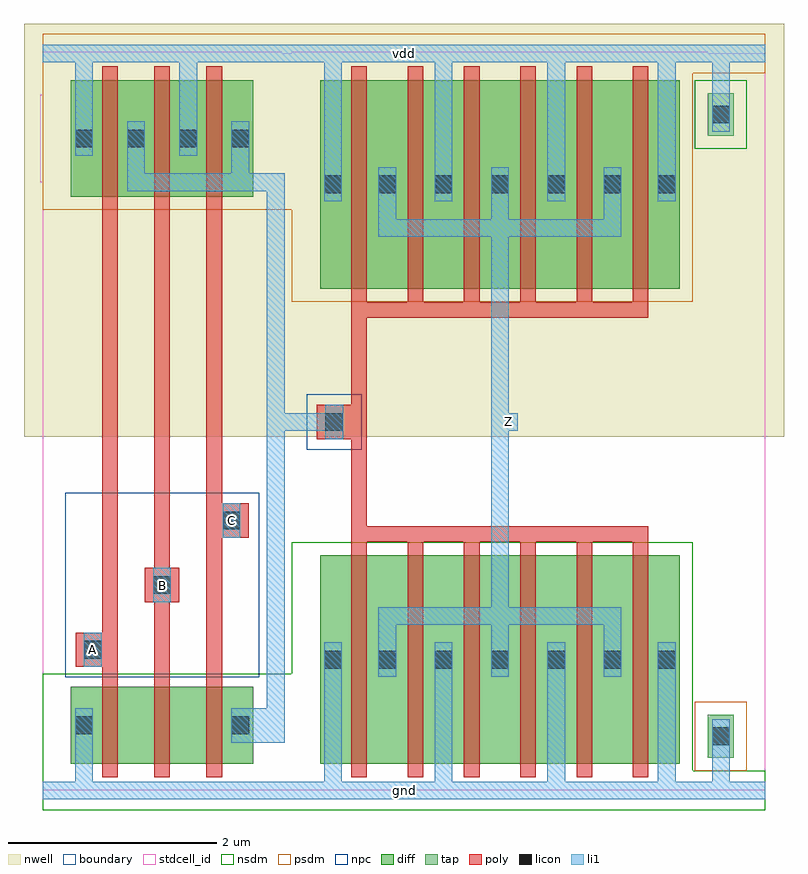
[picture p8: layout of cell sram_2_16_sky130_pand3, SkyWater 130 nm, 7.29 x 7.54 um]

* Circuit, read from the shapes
.subckt sram_2_16_sky130_pand3 A B C Z gnd vdd
XM1 sram_2_16_sky130_pnand3_0/sram_2_16_sky130_nmos_m1_w0_740_sli_dactive_3/D A gnd gnd sky130_fd_pr__nfet_01v8 w=0.74 l=0.15
XM2 sram_2_16_sky130_pnand3_0/sram_2_16_sky130_nmos_m1_w0_740_sactive_dactive_4/D B sram_2_16_sky130_pnand3_0/sram_2_16_sky130_nmos_m1_w0_740_sli_dactive_3/D gnd sky130_fd_pr__nfet_01v8 w=0.74 l=0.15
XM3 sram_2_16_sky130_pdriver_2_1/A C sram_2_16_sky130_pnand3_0/sram_2_16_sky130_nmos_m1_w0_740_sactive_dactive_4/D gnd sky130_fd_pr__nfet_01v8 w=0.74 l=0.15
XM4 Z sram_2_16_sky130_pdriver_2_1/A gnd gnd sky130_fd_pr__nfet_01v8 w=2 l=0.15 m=6
XM5 sram_2_16_sky130_pdriver_2_1/A A vdd vdd sky130_fd_pr__pfet_01v8 w=1.12 l=0.15
XM6 vdd B sram_2_16_sky130_pdriver_2_1/A vdd sky130_fd_pr__pfet_01v8 w=1.12 l=0.15
XM7 sram_2_16_sky130_pdriver_2_1/A C vdd vdd sky130_fd_pr__pfet_01v8 w=1.12 l=0.15
XM8 Z sram_2_16_sky130_pdriver_2_1/A vdd vdd sky130_fd_pr__pfet_01v8 w=2 l=0.15 m=6
.ends

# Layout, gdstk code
import gdstk
lib = gdstk.Library(unit=1e-6, precision=1e-09)
def R(c, l, rs):  # rectangles x0, y0, x1, y1
    for r in rs: c.add(gdstk.rectangle(r[:2], r[2:], *l))
def A(c, l, x, y, w, h, nx, ny, dx, dy):  # array of equal rectangles
    R(c, l, [(x+i*dx, y+j*dy, x+i*dx+w, y+j*dy+h) for i in range(nx) for j in range(ny)])
nwell = (64, 20)
diff = (65, 20)
tap = (65, 44)
poly = (66, 20)
licon = (66, 44)
li1 = (67, 20)
stdcell_id = (81, 4)
nsdm = (93, 44)
psdm = (94, 20)
npc = (95, 20)
boundary = (235, 4)

sram_2_16_sky130_contact = lib.new_cell('sram_2_16_sky130_contact_11')
R(sram_2_16_sky130_contact, nwell, [(-0.295,-0.255,0.545,0.585)])
R(sram_2_16_sky130_contact, diff, [(0,0.02,0.25,0.31)])
R(sram_2_16_sky130_contact, licon, [(0.04,0.08,0.21,0.25)])
R(sram_2_16_sky130_contact, li1, [(0.04,0,0.21,0.33)])
R(sram_2_16_sky130_contact, stdcell_id, [(-0.295,-0.255,0.545,0.585)])
R(sram_2_16_sky130_contact, psdm, [(-0.125,-0.105,0.375,0.435)])
R(sram_2_16_sky130_contact, boundary, [(-0.295,-0.255,0.545,0.585)])

sram_2_16_sky130_pmos_m1 = lib.new_cell('sram_2_16_sky130_pmos_m1_w1_120_sli_dli')
R(sram_2_16_sky130_pmos_m1, nwell, [(-0.27,-0.27,1.02,1.39)])
R(sram_2_16_sky130_pmos_m1, diff, [(0,0,0.75,1.12)])
R(sram_2_16_sky130_pmos_m1, poly, [(0.3,-0.13,0.45,1.25), (0.3,-0.13,0.45,1.25)])
R(sram_2_16_sky130_pmos_m1, li1, [(0.04,0.395,0.21,0.725), (0.54,0.395,0.71,0.725)])
R(sram_2_16_sky130_pmos_m1, stdcell_id, [(-0.27,-0.27,1.02,1.39)])
R(sram_2_16_sky130_pmos_m1, psdm, [(-0.125,-0.125,0.875,1.245)])
R(sram_2_16_sky130_pmos_m1, boundary, [(-0.27,-0.27,1.02,1.39)])
sram_2_16_sky130_pmos_m1.add(gdstk.Reference(sram_2_16_sky130_contact, (0,0.395)))
sram_2_16_sky130_pmos_m1.add(gdstk.Reference(sram_2_16_sky130_contact, (0.5,0.395)))
sram_2_16_sky130_pmos_m1.add(gdstk.Label('G', (0.375,0.56), layer=66, texttype=5))
sram_2_16_sky130_pmos_m1.add(gdstk.Label('S', (0.125,0.56), layer=67, texttype=5))
sram_2_16_sky130_pmos_m1.add(gdstk.Label('D', (0.625,0.56), layer=67, texttype=5))

c_sram_2_16_sky130_contact = lib.new_cell('sram_2_16_sky130_contact_10')
R(c_sram_2_16_sky130_contact, diff, [(0,0.02,0.25,0.31)])
R(c_sram_2_16_sky130_contact, licon, [(0.04,0.08,0.21,0.25)])
R(c_sram_2_16_sky130_contact, li1, [(0.04,0,0.21,0.33)])
R(c_sram_2_16_sky130_contact, stdcell_id, [(-0.125,-0.105,0.375,0.435)])
R(c_sram_2_16_sky130_contact, nsdm, [(-0.125,-0.105,0.375,0.435)])
R(c_sram_2_16_sky130_contact, boundary, [(-0.125,-0.105,0.375,0.435)])

sram_2_16_sky130_nmos_m1 = lib.new_cell('sram_2_16_sky130_nmos_m1_w0_740_sli_dactive')
R(sram_2_16_sky130_nmos_m1, diff, [(0,0,0.75,0.74), (0.55,0.295,0.7,0.445)])
R(sram_2_16_sky130_nmos_m1, poly, [(0.3,-0.13,0.45,0.87), (0.3,-0.13,0.45,0.87)])
R(sram_2_16_sky130_nmos_m1, li1, [(0.04,0.205,0.21,0.535)])
R(sram_2_16_sky130_nmos_m1, stdcell_id, [(-0.125,-0.13,0.875,0.87)])
R(sram_2_16_sky130_nmos_m1, nsdm, [(-0.125,-0.125,0.875,0.865)])
R(sram_2_16_sky130_nmos_m1, boundary, [(-0.125,-0.13,0.875,0.87)])
sram_2_16_sky130_nmos_m1.add(gdstk.Reference(c_sram_2_16_sky130_contact, (0,0.205)))
sram_2_16_sky130_nmos_m1.add(gdstk.Label('G', (0.375,0.37), layer=66, texttype=5))
sram_2_16_sky130_nmos_m1.add(gdstk.Label('S', (0.125,0.37), layer=67, texttype=5))
sram_2_16_sky130_nmos_m1.add(gdstk.Label('D', (0.625,0.37), layer=65, texttype=5))

c_sram_2_16_sky130_nmos_m1 = lib.new_cell('sram_2_16_sky130_nmos_m1_w0_740_sactive_dactive')
R(c_sram_2_16_sky130_nmos_m1, diff, [(0,0,0.75,0.74), (0.05,0.295,0.2,0.445), (0.55,0.295,0.7,0.445)])
R(c_sram_2_16_sky130_nmos_m1, poly, [(0.3,-0.13,0.45,0.87), (0.3,-0.13,0.45,0.87)])
R(c_sram_2_16_sky130_nmos_m1, stdcell_id, [(-0.125,-0.13,0.875,0.87)])
R(c_sram_2_16_sky130_nmos_m1, nsdm, [(-0.125,-0.125,0.875,0.865)])
R(c_sram_2_16_sky130_nmos_m1, boundary, [(-0.125,-0.13,0.875,0.87)])
c_sram_2_16_sky130_nmos_m1.add(gdstk.Label('G', (0.375,0.37), layer=66, texttype=5))
c_sram_2_16_sky130_nmos_m1.add(gdstk.Label('S', (0.125,0.37), layer=65, texttype=5))
c_sram_2_16_sky130_nmos_m1.add(gdstk.Label('D', (0.625,0.37), layer=65, texttype=5))

c_sram_2_16_sky130_nmos_m1_ = lib.new_cell('sram_2_16_sky130_nmos_m1_w0_740_sactive_dli')
R(c_sram_2_16_sky130_nmos_m1_, diff, [(0,0,0.75,0.74), (0.05,0.295,0.2,0.445)])
R(c_sram_2_16_sky130_nmos_m1_, poly, [(0.3,-0.13,0.45,0.87), (0.3,-0.13,0.45,0.87)])
R(c_sram_2_16_sky130_nmos_m1_, li1, [(0.54,0.205,0.71,0.535)])
R(c_sram_2_16_sky130_nmos_m1_, stdcell_id, [(-0.125,-0.13,0.875,0.87)])
R(c_sram_2_16_sky130_nmos_m1_, nsdm, [(-0.125,-0.125,0.875,0.865)])
R(c_sram_2_16_sky130_nmos_m1_, boundary, [(-0.125,-0.13,0.875,0.87)])
c_sram_2_16_sky130_nmos_m1_.add(gdstk.Reference(c_sram_2_16_sky130_contact, (0.5,0.205)))
c_sram_2_16_sky130_nmos_m1_.add(gdstk.Label('G', (0.375,0.37), layer=66, texttype=5))
c_sram_2_16_sky130_nmos_m1_.add(gdstk.Label('S', (0.125,0.37), layer=65, texttype=5))
c_sram_2_16_sky130_nmos_m1_.add(gdstk.Label('D', (0.625,0.37), layer=67, texttype=5))

c_sram_2_16_sky130_contact_ = lib.new_cell('sram_2_16_sky130_contact_15')
R(c_sram_2_16_sky130_contact_, poly, [(0,0,0.33,0.33)])
R(c_sram_2_16_sky130_contact_, licon, [(0.08,0.08,0.25,0.25)])
R(c_sram_2_16_sky130_contact_, li1, [(0.08,0,0.25,0.33)])
R(c_sram_2_16_sky130_contact_, stdcell_id, [(-0.1,-0.1,0.43,0.43)])
R(c_sram_2_16_sky130_contact_, npc, [(-0.1,-0.1,0.43,0.43)])
R(c_sram_2_16_sky130_contact_, boundary, [(-0.1,-0.1,0.43,0.43)])

sram_2_16_sky130_pnand3 = lib.new_cell('sram_2_16_sky130_pnand3')
R(sram_2_16_sky130_pnand3, nwell, [(-0.18,3.395,2.57,7.355)])
A(sram_2_16_sky130_pnand3, poly, 0.57, 1.125, 0.15, 4.44, 3, 1, 0.5, 0)
R(sram_2_16_sky130_pnand3, poly, [(0.48,1.185,0.57,1.515), (1.07,1.805,1.145,2.135), (1.57,2.425,1.81,2.755)])
R(sram_2_16_sky130_pnand3, li1, [(0,-0.085,2.39,0.085), (0.31,-0.085,0.48,0.46), (1.895,0.46,2.235,0.79), (2.15,0.46,2.32,5.835), (0.395,1.185,0.565,1.515), (1.06,1.805,1.23,2.135), (1.725,2.425,1.895,2.755), (0.81,5.75,0.98,5.92), (0.895,5.75,2.235,5.92), (1.81,5.75,1.98,5.92), (1.895,5.75,2.235,5.92), (2.15,5.75,2.32,5.92), (0.81,5.835,0.98,6.255), (1.81,5.835,1.98,6.255), (0.31,6.09,0.48,7.155), (1.31,6.09,1.48,7.155), (0,6.985,2.39,7.155)])
R(sram_2_16_sky130_pnand3, stdcell_id, [(0,0,2.39,7.07), (0,0,2.39,7.07)])
R(sram_2_16_sky130_pnand3, nsdm, [(0,-0.19,2.39,0.19), (0,0,2.39,1.12)])
R(sram_2_16_sky130_pnand3, psdm, [(0,5.57,2.39,7.07), (0,6.88,2.39,7.26)])
R(sram_2_16_sky130_pnand3, npc, [(0.215,1.085,2.075,2.855)])
R(sram_2_16_sky130_pnand3, boundary, [(0,0,2.39,7.07), (0,0,2.39,7.07)])
sram_2_16_sky130_pnand3.add(gdstk.Reference(sram_2_16_sky130_pmos_m1, (0.27,5.695)))
sram_2_16_sky130_pnand3.add(gdstk.Reference(sram_2_16_sky130_pmos_m1, (0.77,5.695)))
sram_2_16_sky130_pnand3.add(gdstk.Reference(sram_2_16_sky130_pmos_m1, (1.27,5.695)))
sram_2_16_sky130_pnand3.add(gdstk.Reference(sram_2_16_sky130_nmos_m1, (0.27,0.255)))
sram_2_16_sky130_pnand3.add(gdstk.Reference(c_sram_2_16_sky130_nmos_m1, (0.77,0.255)))
sram_2_16_sky130_pnand3.add(gdstk.Reference(c_sram_2_16_sky130_nmos_m1_, (1.27,0.255)))
sram_2_16_sky130_pnand3.add(gdstk.Reference(c_sram_2_16_sky130_contact_, (0.315,1.185)))
sram_2_16_sky130_pnand3.add(gdstk.Reference(c_sram_2_16_sky130_contact_, (0.98,1.805)))
sram_2_16_sky130_pnand3.add(gdstk.Reference(c_sram_2_16_sky130_contact_, (1.645,2.425)))
sram_2_16_sky130_pnand3.add(gdstk.Label('A', (0.48,1.35), layer=67, texttype=5))
sram_2_16_sky130_pnand3.add(gdstk.Label('B', (1.145,1.97), layer=67, texttype=5))
sram_2_16_sky130_pnand3.add(gdstk.Label('C', (1.81,2.59), layer=67, texttype=5))
sram_2_16_sky130_pnand3.add(gdstk.Label('Z', (2.235,5.835), layer=67, texttype=5))
sram_2_16_sky130_pnand3.add(gdstk.Label('gnd', (1.195,0), layer=67, texttype=5))
sram_2_16_sky130_pnand3.add(gdstk.Label('vdd', (1.195,7.07), layer=67, texttype=5))

sram_2_16_sky130_pmos_m6 = lib.new_cell('sram_2_16_sky130_pmos_m6_w2_000_sli_dli_da_p')
R(sram_2_16_sky130_pmos_m6, nwell, [(-0.27,-0.27,3.72,2.27)])
R(sram_2_16_sky130_pmos_m6, diff, [(0,0,3.45,2)])
A(sram_2_16_sky130_pmos_m6, poly, 0.3, -0.13, 0.15, 2.26, 6, 1, 0.54, 0)
R(sram_2_16_sky130_pmos_m6, poly, [(0.3,-0.28,3.15,-0.13)])
A(sram_2_16_sky130_pmos_m6, li1, 0.56, 0.58, 0.17, 0.42, 3, 1, 1.08, 0)
R(sram_2_16_sky130_pmos_m6, li1, [(0.56,0.495,2.89,0.665), (0.04,0.835,0.21,1.165), (1.1,0.835,1.27,1.165), (2.18,0.835,2.35,1.165), (3.24,0.835,3.41,1.165)])
R(sram_2_16_sky130_pmos_m6, stdcell_id, [(-0.27,-0.28,3.72,2.27)])
R(sram_2_16_sky130_pmos_m6, psdm, [(-0.125,-0.125,3.575,2.125)])
R(sram_2_16_sky130_pmos_m6, boundary, [(-0.27,-0.28,3.72,2.27)])
sram_2_16_sky130_pmos_m6.add(gdstk.Reference(sram_2_16_sky130_contact, (0,0.835)))
sram_2_16_sky130_pmos_m6.add(gdstk.Reference(sram_2_16_sky130_contact, (0.52,0.835)))
sram_2_16_sky130_pmos_m6.add(gdstk.Reference(sram_2_16_sky130_contact, (1.06,0.835)))
sram_2_16_sky130_pmos_m6.add(gdstk.Reference(sram_2_16_sky130_contact, (1.6,0.835)))
sram_2_16_sky130_pmos_m6.add(gdstk.Reference(sram_2_16_sky130_contact, (2.14,0.835)))
sram_2_16_sky130_pmos_m6.add(gdstk.Reference(sram_2_16_sky130_contact, (2.68,0.835)))
sram_2_16_sky130_pmos_m6.add(gdstk.Reference(sram_2_16_sky130_contact, (3.2,0.835)))
sram_2_16_sky130_pmos_m6.add(gdstk.Label('G', (1.725,-0.205), layer=66, texttype=5))
sram_2_16_sky130_pmos_m6.add(gdstk.Label('S', (0.125,1), layer=67, texttype=5))
sram_2_16_sky130_pmos_m6.add(gdstk.Label('S', (2.265,1), layer=67, texttype=5))
sram_2_16_sky130_pmos_m6.add(gdstk.Label('S', (3.325,1), layer=67, texttype=5))
sram_2_16_sky130_pmos_m6.add(gdstk.Label('S', (1.185,1), layer=67, texttype=5))
sram_2_16_sky130_pmos_m6.add(gdstk.Label('D', (1.725,0.58), layer=67, texttype=5))

sram_2_16_sky130_nmos_m6 = lib.new_cell('sram_2_16_sky130_nmos_m6_w2_000_sli_dli_da_p')
R(sram_2_16_sky130_nmos_m6, diff, [(0,0,3.45,2)])
A(sram_2_16_sky130_nmos_m6, poly, 0.3, -0.13, 0.15, 2.26, 6, 1, 0.54, 0)
R(sram_2_16_sky130_nmos_m6, poly, [(0.3,2.13,3.15,2.28)])
A(sram_2_16_sky130_nmos_m6, li1, 0.56, 1, 0.17, 0.42, 3, 1, 1.08, 0)
R(sram_2_16_sky130_nmos_m6, li1, [(0.04,0.835,0.21,1.165), (1.1,0.835,1.27,1.165), (2.18,0.835,2.35,1.165), (3.24,0.835,3.41,1.165), (0.56,1.335,2.89,1.505)])
R(sram_2_16_sky130_nmos_m6, stdcell_id, [(-0.125,-0.13,3.575,2.28)])
R(sram_2_16_sky130_nmos_m6, nsdm, [(-0.125,-0.125,3.575,2.125)])
R(sram_2_16_sky130_nmos_m6, boundary, [(-0.125,-0.13,3.575,2.28)])
sram_2_16_sky130_nmos_m6.add(gdstk.Reference(c_sram_2_16_sky130_contact, (0,0.835)))
sram_2_16_sky130_nmos_m6.add(gdstk.Reference(c_sram_2_16_sky130_contact, (0.52,0.835)))
sram_2_16_sky130_nmos_m6.add(gdstk.Reference(c_sram_2_16_sky130_contact, (1.06,0.835)))
sram_2_16_sky130_nmos_m6.add(gdstk.Reference(c_sram_2_16_sky130_contact, (1.6,0.835)))
sram_2_16_sky130_nmos_m6.add(gdstk.Reference(c_sram_2_16_sky130_contact, (2.14,0.835)))
sram_2_16_sky130_nmos_m6.add(gdstk.Reference(c_sram_2_16_sky130_contact, (2.68,0.835)))
sram_2_16_sky130_nmos_m6.add(gdstk.Reference(c_sram_2_16_sky130_contact, (3.2,0.835)))
sram_2_16_sky130_nmos_m6.add(gdstk.Label('G', (1.725,2.205), layer=66, texttype=5))
sram_2_16_sky130_nmos_m6.add(gdstk.Label('S', (0.125,1), layer=67, texttype=5))
sram_2_16_sky130_nmos_m6.add(gdstk.Label('S', (2.265,1), layer=67, texttype=5))
sram_2_16_sky130_nmos_m6.add(gdstk.Label('S', (3.325,1), layer=67, texttype=5))
sram_2_16_sky130_nmos_m6.add(gdstk.Label('S', (1.185,1), layer=67, texttype=5))
sram_2_16_sky130_nmos_m6.add(gdstk.Label('D', (1.725,1.42), layer=67, texttype=5))

c_sram_2_16_sky130_contact__ = lib.new_cell('sram_2_16_sky130_contact_22')
R(c_sram_2_16_sky130_contact__, nwell, [(-0.295,-0.215,0.545,0.625)])
R(c_sram_2_16_sky130_contact__, tap, [(0,0,0.25,0.41)])
R(c_sram_2_16_sky130_contact__, licon, [(0.04,0.12,0.21,0.29)])
R(c_sram_2_16_sky130_contact__, li1, [(0.04,0.04,0.21,0.37)])
R(c_sram_2_16_sky130_contact__, stdcell_id, [(-0.295,-0.215,0.545,0.625)])
R(c_sram_2_16_sky130_contact__, nsdm, [(-0.125,-0.125,0.375,0.535)])
R(c_sram_2_16_sky130_contact__, boundary, [(-0.295,-0.215,0.545,0.625)])

c_sram_2_16_sky130_contact___ = lib.new_cell('sram_2_16_sky130_contact_23')
R(c_sram_2_16_sky130_contact___, tap, [(0,0,0.25,0.41)])
R(c_sram_2_16_sky130_contact___, licon, [(0.04,0.12,0.21,0.29)])
R(c_sram_2_16_sky130_contact___, li1, [(0.04,0.04,0.21,0.37)])
R(c_sram_2_16_sky130_contact___, stdcell_id, [(-0.125,-0.125,0.375,0.535)])
R(c_sram_2_16_sky130_contact___, psdm, [(-0.125,-0.125,0.375,0.535)])
R(c_sram_2_16_sky130_contact___, boundary, [(-0.125,-0.125,0.375,0.535)])

sram_2_16_sky130_pinv_9 = lib.new_cell('sram_2_16_sky130_pinv_9')
R(sram_2_16_sky130_pinv_9, nwell, [(-0.18,3.395,4.72,7.355)])
R(sram_2_16_sky130_pinv_9, poly, [(0.57,2.535,0.72,4.535), (0.405,3.37,0.57,3.7)])
R(sram_2_16_sky130_pinv_9, li1, [(0,-0.085,4.54,0.085), (0.31,-0.085,0.48,1.09), (1.37,-0.085,1.54,1.09), (2.45,-0.085,2.62,1.09), (3.51,-0.085,3.68,1.09), (4.03,0,4.2,0.52), (1.91,1.59,2.08,5.48), (0.32,3.37,0.49,3.7), (1.995,3.45,2.165,3.62), (0.31,5.65,0.48,7.155), (1.37,5.65,1.54,7.155), (2.45,5.65,2.62,7.155), (3.51,5.65,3.68,7.155), (4.03,6.485,4.2,7.07), (0,6.985,4.54,7.155)])
R(sram_2_16_sky130_pinv_9, stdcell_id, [(0,0,4.54,7.07), (0,0,4.54,7.07)])
R(sram_2_16_sky130_pinv_9, nsdm, [(0,-0.19,4.54,0.19), (0,0,3.845,2.38)])
R(sram_2_16_sky130_pinv_9, psdm, [(0,4.69,3.845,7.07), (0,6.88,4.54,7.26)])
R(sram_2_16_sky130_pinv_9, boundary, [(0,0,4.54,7.07), (0,0,4.54,7.07)])
sram_2_16_sky130_pinv_9.add(gdstk.Reference(sram_2_16_sky130_pmos_m6, (0.27,4.815)))
sram_2_16_sky130_pinv_9.add(gdstk.Reference(sram_2_16_sky130_nmos_m6, (0.27,0.255)))
sram_2_16_sky130_pinv_9.add(gdstk.Reference(c_sram_2_16_sky130_contact__, (3.99,6.28)))
sram_2_16_sky130_pinv_9.add(gdstk.Reference(c_sram_2_16_sky130_contact___, (3.99,0.315)))
sram_2_16_sky130_pinv_9.add(gdstk.Reference(c_sram_2_16_sky130_contact_, (0.24,3.37)))
sram_2_16_sky130_pinv_9.add(gdstk.Label('A', (0.405,3.535), layer=67, texttype=5))
sram_2_16_sky130_pinv_9.add(gdstk.Label('Z', (2.08,3.535), layer=67, texttype=5))
sram_2_16_sky130_pinv_9.add(gdstk.Label('gnd', (2.27,0), layer=67, texttype=5))
sram_2_16_sky130_pinv_9.add(gdstk.Label('vdd', (2.27,7.07), layer=67, texttype=5))

sram_2_16_sky130_pdriver = lib.new_cell('sram_2_16_sky130_pdriver_2')
R(sram_2_16_sky130_pdriver, nwell, [(-0.18,3.395,4.72,7.355)])
R(sram_2_16_sky130_pdriver, li1, [(0,-0.085,4.54,0.085), (0.32,3.37,0.49,3.7), (1.995,3.45,2.165,3.62), (0,6.985,4.54,7.155)])
R(sram_2_16_sky130_pdriver, stdcell_id, [(0,0,4.54,7.07), (0,0,4.54,7.07)])
R(sram_2_16_sky130_pdriver, nsdm, [(0,-0.19,4.54,0.19)])
R(sram_2_16_sky130_pdriver, psdm, [(0,6.88,4.54,7.26)])
R(sram_2_16_sky130_pdriver, boundary, [(0,0,4.54,7.07), (0,0,4.54,7.07)])
sram_2_16_sky130_pdriver.add(gdstk.Reference(sram_2_16_sky130_pinv_9, (0,0)))
sram_2_16_sky130_pdriver.add(gdstk.Label('Z', (2.08,3.535), layer=67, texttype=5))
sram_2_16_sky130_pdriver.add(gdstk.Label('A', (0.405,3.535), layer=67, texttype=5))
sram_2_16_sky130_pdriver.add(gdstk.Label('gnd', (2.27,0), layer=67, texttype=5))
sram_2_16_sky130_pdriver.add(gdstk.Label('vdd', (2.27,7.07), layer=67, texttype=5))

sram_2_16_sky130_pand3 = lib.new_cell('sram_2_16_sky130_pand3')
R(sram_2_16_sky130_pand3, li1, [(0,-0.085,6.93,0.085), (0.395,1.185,0.565,1.515), (1.06,1.805,1.23,2.135), (1.725,2.425,1.895,2.755), (2.15,3.45,2.32,3.62), (2.235,3.45,2.795,3.62), (4.385,3.45,4.555,3.62), (2.15,3.535,2.32,5.835), (0,6.985,6.93,7.155)])
R(sram_2_16_sky130_pand3, stdcell_id, [(0,0,6.93,7.07), (0,0,6.93,7.07)])
R(sram_2_16_sky130_pand3, boundary, [(0,0,6.93,7.07), (0,0,6.93,7.07)])
sram_2_16_sky130_pand3.add(gdstk.Reference(sram_2_16_sky130_pnand3, (0,0)))
sram_2_16_sky130_pand3.add(gdstk.Reference(sram_2_16_sky130_pdriver, (2.39,0)))
sram_2_16_sky130_pand3.add(gdstk.Label('Z', (4.47,3.535), layer=67, texttype=5))
sram_2_16_sky130_pand3.add(gdstk.Label('A', (0.48,1.35), layer=67, texttype=5))
sram_2_16_sky130_pand3.add(gdstk.Label('B', (1.145,1.97), layer=67, texttype=5))
sram_2_16_sky130_pand3.add(gdstk.Label('C', (1.81,2.59), layer=67, texttype=5))
sram_2_16_sky130_pand3.add(gdstk.Label('gnd', (3.465,0), layer=67, texttype=5))
sram_2_16_sky130_pand3.add(gdstk.Label('vdd', (3.465,7.07), layer=67, texttype=5))

lib.write_gds('sram_2_16_sky130_pand3.gds')
